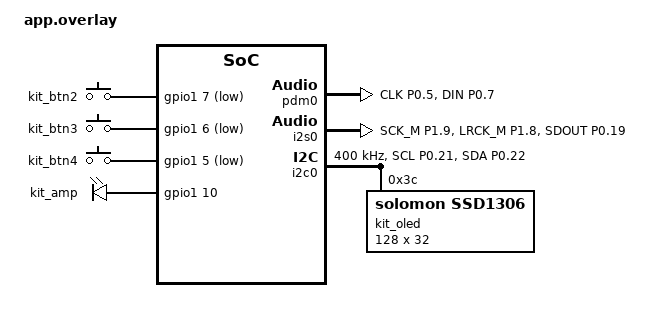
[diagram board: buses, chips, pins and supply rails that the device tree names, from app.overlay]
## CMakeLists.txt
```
# SPDX-License-Identifier: Apache-2.0
cmake_minimum_required(VERSION 3.20.0)
find_package(Zephyr REQUIRED HINTS $ENV{ZEPHYR_BASE})
project(military_wallaby_nu40)
target_include_directories(app PRIVATE ../../shared ../voice_common)
target_sources(app PRIVATE src/main.c src/font_0608.c src/voice.c src/ota.c src/alarm.c)
```

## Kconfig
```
# SPDX-License-Identifier: Apache-2.0
mainmenu "military-wallaby NU40 microphone and display"
config WALLABY_PAIRING_PASSKEY
    int "Locally provisioned BLE pairing passkey"
    range -1 999999
    default -1
    help
      Supply via build.py from a private six-digit file shared with NU87.
      The unset value fails compilation. Never commit a known passkey.
config WALLABY_PDM_RIGHT_CHANNEL
    bool "Use PDM right channel instead of vendor default left"
    default n
source "Kconfig.zephyr"
```

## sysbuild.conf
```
# SPDX-License-Identifier: Apache-2.0
SB_CONFIG_BOOTLOADER_MCUBOOT=y
SB_CONFIG_MCUBOOT_MODE_SWAP_USING_MOVE=y
SB_CONFIG_BOOT_SIGNATURE_TYPE_ECDSA_P256=y
```

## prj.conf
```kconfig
CONFIG_SERIAL=y
CONFIG_CONSOLE=y
CONFIG_UART_CONSOLE=y
CONFIG_UART_LINE_CTRL=y
CONFIG_USB_DEVICE_STACK_NEXT=y
CONFIG_CDC_ACM_SERIAL_INITIALIZE_AT_BOOT=y
CONFIG_CDC_ACM_SERIAL_PID=0x0004
CONFIG_CDC_ACM_SERIAL_PRODUCT_STRING="military-wallaby NU40 voice"
CONFIG_REBOOT=y
CONFIG_GPIO=y
CONFIG_I2C=y
CONFIG_I2S=y
CONFIG_DISPLAY=y
CONFIG_CHARACTER_FRAMEBUFFER=y
CONFIG_CHARACTER_FRAMEBUFFER_USE_DEFAULT_FONTS=n
CONFIG_BT=y
CONFIG_BT_PERIPHERAL=y
CONFIG_BT_DEVICE_NAME="NU40-KIT-DISPLAY"
CONFIG_BT_MAX_CONN=1
CONFIG_BT_MAX_PAIRED=1
CONFIG_BT_SMP=y
CONFIG_BT_APP_PASSKEY=y
CONFIG_BT_SETTINGS=y
CONFIG_SETTINGS=y
CONFIG_SETTINGS_NVS=y
CONFIG_NVS=y
CONFIG_BT_GATT_CLIENT=y
CONFIG_BT_L2CAP_TX_MTU=247
CONFIG_BT_BUF_ACL_RX_SIZE=251
CONFIG_BT_BUF_ACL_TX_SIZE=251
CONFIG_BT_CTLR_DATA_LENGTH_MAX=251
CONFIG_BT_ATT_TX_COUNT=8
CONFIG_AUDIO=y
CONFIG_AUDIO_DMIC=y
# OTA commands require authenticated encrypted BLE (MITM / Security Level 3).
CONFIG_BOOTLOADER_MCUBOOT=y
CONFIG_MCUBOOT_GENERATE_CONFIRMED_IMAGE=y
CONFIG_FLASH=y
CONFIG_FLASH_MAP=y
CONFIG_STREAM_FLASH=y
CONFIG_IMG_MANAGER=y
CONFIG_NET_BUF=y
CONFIG_ZCBOR=y
CONFIG_CRC=y
CONFIG_MCUMGR=y
CONFIG_MCUMGR_GRP_IMG=y
CONFIG_MCUMGR_GRP_OS=y
CONFIG_MCUMGR_TRANSPORT_BT=y
CONFIG_MCUMGR_TRANSPORT_BT_PERM_RW_AUTHEN=y
CONFIG_MCUMGR_TRANSPORT_BT_REASSEMBLY=y
CONFIG_MCUMGR_TRANSPORT_NETBUF_SIZE=1024
CONFIG_MCUMGR_TRANSPORT_WORKQUEUE_STACK_SIZE=4096
CONFIG_MCUMGR_MGMT_NOTIFICATION_HOOKS=y
CONFIG_MCUMGR_GRP_IMG_STATUS_HOOKS=y
CONFIG_MAIN_STACK_SIZE=4096
CONFIG_SYSTEM_WORKQUEUE_STACK_SIZE=2048
CONFIG_HEAP_MEM_POOL_SIZE=4096
CONFIG_LOG=y
CONFIG_LOG_DEFAULT_LEVEL=2
```

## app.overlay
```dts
/ {
	aliases { dmic0 = &pdm0; wallaby-alarm-button = &kit_btn4;
		wallaby-record-button = &kit_btn2; wallaby-send-button = &kit_btn3; };
	kit_buttons {
		compatible = "gpio-keys";
		/* Manufacturer BTN_PREV=39 (BTN2), BTN_NEXT=38 (BTN3). */
		kit_btn2: button2 { gpios = <&gpio1 7 (GPIO_ACTIVE_LOW | GPIO_PULL_UP)>; };
		kit_btn3: button3 { gpios = <&gpio1 6 (GPIO_ACTIVE_LOW | GPIO_PULL_UP)>; };
		kit_btn4: button4 { gpios = <&gpio1 5 (GPIO_ACTIVE_LOW | GPIO_PULL_UP)>; };
	};
	chosen { zephyr,display = &kit_oled; };
	kit_controls {
		compatible = "gpio-leds";
		kit_amp: amp { gpios = <&gpio1 10 GPIO_ACTIVE_HIGH>; };
	};
};

&uart0 { status = "disabled"; };
&uart1 { status = "disabled"; };
&i2c1 { status = "disabled"; };
&spi1 { status = "disabled"; };
&spi3 { status = "disabled"; };
/* Manufacturer PDM.setPins(7,5,-1): DIN P0.07, CLK P0.05. */
&pdm0 {
	status = "okay";
	pinctrl-0 = <&kit_pdm>;
	pinctrl-names = "default";
	clock-source = "PCLK32M_HFXO";
	queue-size = <8>;
};
&i2s0 {
	status = "okay";
	pinctrl-0 = <&kit_i2s>;
	pinctrl-names = "default";
	clock-source = "PCLK32M_HFXO";
};

&pinctrl {
	kit_i2s: kit_i2s {
		group1 {
			psels = <NRF_PSEL(I2S_SCK_M, 1, 9)>, <NRF_PSEL(I2S_LRCK_M, 1, 8)>,
				<NRF_PSEL(I2S_SDOUT, 0, 19)>;
		};
	};
	kit_pdm: kit_pdm {
		group1 { psels = <NRF_PSEL(PDM_CLK, 0, 5)>, <NRF_PSEL(PDM_DIN, 0, 7)>; };
	};
	kit_i2c: kit_i2c {
		group1 {
			psels = <NRF_PSEL(TWIM_SCL, 0, 21)>, <NRF_PSEL(TWIM_SDA, 0, 22)>;
		};
	};
};

&i2c0 {
	status = "okay";
	clock-frequency = <I2C_BITRATE_FAST>;
	pinctrl-0 = <&kit_i2c>;
	/delete-property/ pinctrl-1;
	pinctrl-names = "default";
	kit_oled: ssd1306@3c {
		compatible = "solomon,ssd1306";
		reg = <0x3c>;
		width = <128>;
		height = <32>;
		segment-offset = <0>;
		page-offset = <0>;
		display-offset = <0>;
		multiplex-ratio = <31>;
		segment-remap;
		com-invdir;
		com-sequential;
		prechargep = <0x22>;
	};
};
```

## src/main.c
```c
/* SPDX-License-Identifier: Apache-2.0 */
#include <errno.h>
#include <string.h>
#include <hal/nrf_power.h>
#include <zephyr/bluetooth/bluetooth.h>
#include <zephyr/bluetooth/conn.h>
#include <zephyr/bluetooth/gatt.h>
#include <zephyr/bluetooth/uuid.h>
#include <zephyr/device.h>
#include <zephyr/display/cfb.h>
#include <zephyr/drivers/gpio.h>
#include <zephyr/drivers/uart.h>
#include <zephyr/kernel.h>
#include <zephyr/sys/atomic.h>
#include <zephyr/sys/printk.h>
#include <zephyr/sys/reboot.h>
#include <zephyr/settings/settings.h>

#include "ble_display_protocol.h"
#include "voice.h"
#include "alarm.h"
#include "wallaby_graphics.h"
#include "display_policy.h"

BUILD_ASSERT(CONFIG_WALLABY_PAIRING_PASSKEY >= 0,
             "Use build.py and a private pairing code shared with NU87");
static void display_pairing(struct bt_conn *conn, unsigned int passkey)
{
	ARG_UNUSED(conn); ARG_UNUSED(passkey);
	printk("PAIR|request=1 code=locally_provisioned\n");
}
static void cancel_pairing(struct bt_conn *conn)
{
	ARG_UNUSED(conn); printk("PAIR|cancelled=1\n");
}
static uint32_t pairing_passkey(struct bt_conn *conn)
{
	ARG_UNUSED(conn);
	return CONFIG_WALLABY_PAIRING_PASSKEY;
}
static const struct bt_conn_auth_cb authentication = {
	.passkey_display = display_pairing, .cancel = cancel_pairing,
	.app_passkey = pairing_passkey,
};

static const struct device *const oled = DEVICE_DT_GET(DT_NODELABEL(kit_oled));
static const struct gpio_dt_spec amp = GPIO_DT_SPEC_GET(DT_NODELABEL(kit_amp), gpios);
static const struct bt_uuid_128 service_uuid = BT_UUID_INIT_128(BLE_DISPLAY_UUID_SERVICE_VAL);
static const struct bt_uuid_128 ack_uuid = BT_UUID_INIT_128(BLE_DISPLAY_UUID_ACK_VAL);
static const struct bt_uuid_128 control_uuid = BT_UUID_INIT_128(VOICE_UUID_CONTROL_VAL);
static const struct bt_uuid_128 audio_uuid = BT_UUID_INIT_128(VOICE_UUID_AUDIO_VAL);
static const struct bt_uuid_128 alarm_control_uuid = BT_UUID_INIT_128(ALARM_UUID_CONTROL_VAL);
static const struct bt_uuid_128 alarm_ack_uuid = BT_UUID_INIT_128(ALARM_UUID_ACK_VAL);
static const struct bt_uuid_128 text_uuid = BT_UUID_INIT_128(BLE_DISPLAY_UUID_TEXT_VAL);
static const struct bt_data advertising[] = {
	BT_DATA_BYTES(BT_DATA_FLAGS, BT_LE_AD_GENERAL | BT_LE_AD_NO_BREDR),
	BT_DATA_BYTES(BT_DATA_UUID128_ALL, BLE_DISPLAY_UUID_SERVICE_VAL),
};
static const struct bt_data scan_response[] = {
	BT_DATA(BT_DATA_NAME_COMPLETE, CONFIG_BT_DEVICE_NAME, sizeof(CONFIG_BT_DEVICE_NAME) - 1),
};

struct received_text {
	uint32_t session;
	uint16_t sequence;
	char text[BLE_DISPLAY_MAX_TEXT + 1];
};

K_MSGQ_DEFINE(messages, sizeof(struct received_text), 2, 4);
static struct k_spinlock link_lock;
static struct ble_display_rx receiver;
static struct bt_conn *peer;
static uint32_t session;
static atomic_t link_revision;
static bool oled_ready;
static uint32_t received_count, oled_writes, ack_count, error_count;
static struct wallaby_scene scene = {.view = 'F', .state = 'X'};
static struct wallaby_scene_motion scene_motion;
static bool scene_active;
static uint32_t scene_received_at;
static char display_text[BLE_DISPLAY_MAX_TEXT + 1];
static bool text_hold;
static bool scene_after_text;
static uint32_t text_received_at;
static enum voice_status displayed_voice = VOICE_OFF;
static uint32_t voice_received_at;

static int draw_scene(void)
{
	uint8_t pixels[WALLABY_PIXELS];
	char labels[4][WALLABY_LABEL_COLUMNS + 1];
	uint32_t now = k_uptime_get_32();
	int ret;
	struct wallaby_scene presented = scene_motion.initialized ?
		wallaby_motion_read(&scene_motion, now) : scene;

	if (!oled_ready) {
		return -ENODEV;
	}
	if (!wallaby_display_render(&presented,
				 (uint32_t)(now - scene_received_at) > WALLABY_SCENE_TIMEOUT_MS,
				 now, alarm_is_active(), displayed_voice,
				 now - voice_received_at, pixels, labels)) {
		return -E2BIG;
	}
	ret = cfb_framebuffer_clear(oled, false);
	for (int y = 0; y < 32 && ret == 0; y++) {
		for (int x = 0; x < 64 && ret == 0; x++) {
			if (pixels[(y / 8) * 128 + x] & (1U << (y % 8))) {
				struct cfb_position point = {.x = x, .y = y};

				ret = cfb_draw_point(oled, &point);
			}
		}
	}
	for (int row = 0; row < 4 && ret == 0; row++) {
		ret = cfb_print(oled, labels[row], 66, row * 8);
	}
	if (ret == 0) {
		ret = cfb_framebuffer_finalize(oled);
	}
	if (ret == 0) {
		oled_writes++;
	}
	return ret;
}

static bool ack_subscribed(struct bt_conn *conn);

static ssize_t receive_text(struct bt_conn *conn, const struct bt_gatt_attr *attr,
			    const void *buffer, uint16_t length, uint16_t offset, uint8_t flags)
{
	struct received_text message;
	enum ble_display_result result;
	int queued = 0;

	ARG_UNUSED(attr);
	if (offset != 0) {
		return BT_GATT_ERR(BT_ATT_ERR_INVALID_OFFSET);
	}
	if (flags & BT_GATT_WRITE_FLAG_PREPARE) {
		return BT_GATT_ERR(BT_ATT_ERR_NOT_SUPPORTED);
	}
	if (!ack_subscribed(conn)) {
		return BT_GATT_ERR(BT_ATT_ERR_CCC_IMPROPER_CONF);
	}
	k_spinlock_key_t key = k_spin_lock(&link_lock);
	result = ble_display_receive(&receiver, buffer, length, k_uptime_get_32());
	if (result == BLE_DISPLAY_COMPLETE) {
		message.session = session;
		message.sequence = receiver.sequence;
		memcpy(message.text, receiver.text, sizeof(message.text));
		queued = k_msgq_put(&messages, &message, K_NO_WAIT);
	}
	k_spin_unlock(&link_lock, key);
	if (result < 0 || queued != 0) {
		printk("LINK|RX rejected=%d queue_result=%d\n", result, queued);
		return BT_GATT_ERR(queued != 0 ? BT_ATT_ERR_INSUFFICIENT_RESOURCES :
				   BT_ATT_ERR_VALUE_NOT_ALLOWED);
	}
	return length;
}

static void subscription_changed(const struct bt_gatt_attr *attr, uint16_t value)
{
	ARG_UNUSED(attr);
	printk("LINK|ACK subscribed=%u\n", value == BT_GATT_CCC_NOTIFY);
}

BT_GATT_SERVICE_DEFINE(display_service,
	BT_GATT_PRIMARY_SERVICE(&service_uuid),
	BT_GATT_CHARACTERISTIC(&ack_uuid.uuid, BT_GATT_CHRC_NOTIFY,
			       BT_GATT_PERM_NONE, NULL, NULL, NULL),
	BT_GATT_CCC(subscription_changed, BT_GATT_PERM_READ | BT_GATT_PERM_WRITE),
	BT_GATT_CHARACTERISTIC(&text_uuid.uuid, BT_GATT_CHRC_WRITE,
			       BT_GATT_PERM_WRITE, NULL, receive_text, NULL),
	BT_GATT_CHARACTERISTIC(&control_uuid.uuid, BT_GATT_CHRC_WRITE,
			       BT_GATT_PERM_WRITE, NULL, voice_control, NULL),
	BT_GATT_CHARACTERISTIC(&audio_uuid.uuid, BT_GATT_CHRC_NOTIFY,
			       BT_GATT_PERM_NONE, NULL, NULL, NULL),
	BT_GATT_CCC(voice_subscription, BT_GATT_PERM_READ | BT_GATT_PERM_WRITE),
	BT_GATT_CHARACTERISTIC(&alarm_control_uuid.uuid, BT_GATT_CHRC_WRITE,
			       BT_GATT_PERM_WRITE, NULL, alarm_control, NULL),
	BT_GATT_CHARACTERISTIC(&alarm_ack_uuid.uuid, BT_GATT_CHRC_NOTIFY,
			       BT_GATT_PERM_NONE, NULL, NULL, NULL),
	BT_GATT_CCC(alarm_subscription, BT_GATT_PERM_READ | BT_GATT_PERM_WRITE)
);

static bool ack_subscribed(struct bt_conn *conn)
{
	return bt_gatt_is_subscribed(conn, &display_service.attrs[2], BT_GATT_CCC_NOTIFY);
}

static int draw_text_raw(const char *text)
{
	char lines[BLE_DISPLAY_ROWS][BLE_DISPLAY_COLUMNS + 1];
	int ret;

	if (!wallaby_display_text(text, displayed_voice,
				 k_uptime_get_32() - voice_received_at, lines)) {
		return -E2BIG;
	}
	if (!oled_ready) {
		return -ENODEV;
	}
	ret = cfb_framebuffer_clear(oled, false);
	for (size_t i = 0; i < BLE_DISPLAY_ROWS && ret == 0; i++) {
		ret = cfb_print(oled, lines[i], 0, i * 8);
	}
	if (ret == 0) {
		ret = cfb_framebuffer_finalize(oled);
	}
	if (ret == 0) {
		oled_writes++;
	}
	return ret;
}

static int draw_display(void)
{
	uint32_t now = k_uptime_get_32();
	bool holding = wallaby_text_holding(text_hold, text_received_at, now);

	if (!holding) text_hold = false;
	if (wallaby_display_uses_scene(scene_active, &scene, alarm_is_active(), holding, scene_after_text)) {
		return draw_scene();
	}
	return draw_text_raw(display_text);
}

static int show_text(const char *text, bool hold)
{
	char lines[BLE_DISPLAY_ROWS][BLE_DISPLAY_COLUMNS + 1];

	if (!ble_display_split_lines(text, strlen(text), lines)) return -E2BIG;
	strncpy(display_text, text, sizeof(display_text) - 1);
	display_text[sizeof(display_text) - 1] = '\0';
	text_hold = hold;
	if (hold) scene_after_text = false;
	text_received_at = k_uptime_get_32();
	return draw_display();
}

static void connected(struct bt_conn *conn, uint8_t error)
{
	printk("LINK|BLE connected=%u hci_error=%u\n", error == 0, error);
	if (error != 0) {
		return;
	}
	k_spinlock_key_t key = k_spin_lock(&link_lock);
	peer = bt_conn_ref(conn);
	session++;
	ble_display_rx_reset(&receiver);
	k_spin_unlock(&link_lock, key);
	atomic_inc(&link_revision);
	voice_connected(conn);
	alarm_connected(conn);
}

static void restart_advertising(struct k_work *work);
K_WORK_DEFINE(advertising_work, restart_advertising);

static void disconnected(struct bt_conn *conn, uint8_t reason)
{
	printk("LINK|BLE disconnected=1 reason=%u\n", reason);
	k_spinlock_key_t key = k_spin_lock(&link_lock);
	if (peer == conn) {
		bt_conn_unref(peer);
		peer = NULL;
	}
	session++;
	ble_display_rx_reset(&receiver);
	k_spin_unlock(&link_lock, key);
	atomic_inc(&link_revision);
	voice_disconnected(conn);
	alarm_disconnected(conn);
}

static void recycled(void)
{
	k_work_submit(&advertising_work);
}

BT_CONN_CB_DEFINE(connection_callbacks) = {
	.connected = connected,
	.disconnected = disconnected,
	.recycled = recycled,
};

static void restart_advertising(struct k_work *work)
{
	int ret;

	ARG_UNUSED(work);
	ret = bt_le_adv_start(BT_LE_ADV_CONN_FAST_1, advertising, ARRAY_SIZE(advertising),
			      scan_response, ARRAY_SIZE(scan_response));
	printk("LINK|BLE advertising_result=%d name=%s\n", ret, CONFIG_BT_DEVICE_NAME);
}

static void process_message(const struct received_text *message)
{
	struct bt_conn *conn = NULL;
	uint8_t ack[BLE_DISPLAY_ACK_SIZE];
	uint8_t status;
	int rendered, notified;

	k_spinlock_key_t key = k_spin_lock(&link_lock);
	if (peer != NULL && message->session == session) {
		conn = bt_conn_ref(peer);
	}
	k_spin_unlock(&link_lock, key);
	if (conn == NULL) {
		return;
	}
	struct wallaby_scene next;
	int parsed = wallaby_scene_parse(message->text, &next);

	if (parsed < 0) {
		rendered = -E2BIG;
	} else if (parsed == 1) {
		/* Repeating an old sample must not make a dead sensor look live. */
		if (!scene_active || next.sample != scene.sample) {
			scene_received_at = k_uptime_get_32();
		}
		scene = next;
		wallaby_motion_target(&scene_motion, &next, k_uptime_get_32());
		scene_active = true;
		scene_after_text = true;
		rendered = draw_display();
	} else {
		/* Keep receiving measurements underneath the readable answer. The
		 * host may also intentionally pause WG1 updates during this hold. */
		rendered = show_text(message->text, true);
	}
	status = rendered == 0 ? BLE_DISPLAY_OK :
		 rendered == -E2BIG ? BLE_DISPLAY_BAD_TEXT : BLE_DISPLAY_OLED_ERROR;
	ble_display_build_ack(message->sequence, status, ack);
	notified = bt_gatt_notify(conn, &display_service.attrs[2], ack, sizeof(ack));
	bt_conn_unref(conn);
	received_count++;
	if (rendered == 0 && notified == 0) {
		ack_count++;
	} else {
		error_count++;
	}
	/* oled_result confirms the driver transfer; visible text needs observation. */
	printk("LINK|RX seq=%u bytes=%u oled_result=%d ack_result=%d visible=unverified\n",
	       message->sequence, (unsigned int)strlen(message->text), rendered, notified);
}

static void report_status(void)
{
	bool connected_now;

	k_spinlock_key_t key = k_spin_lock(&link_lock);
	connected_now = peer != NULL;
	k_spin_unlock(&link_lock, key);
	printk("LINK|STATUS role=display connected=%u oled_ready=%u rx=%u oled_writes=%u "
	       "ack_queued=%u errors=%u\n", connected_now, oled_ready, received_count,
	       oled_writes, ack_count, error_count);
}

static void enter_bootloader(void)
{
	printk("LINK|CMD uf2 accepted=1\n");
	k_msleep(50);
	nrf_power_gpregret_set(NRF_POWER, 0U, 0x57U);
	sys_reboot(SYS_REBOOT_COLD);
}

static void poll_console(const struct device *console)
{
	static char command[16];
	static size_t used;
	static bool overflow;
	uint32_t baudrate;
	unsigned char c;

	if (uart_line_ctrl_get(console, UART_LINE_CTRL_BAUD_RATE, &baudrate) == 0 &&
	    baudrate == 1200) {
		enter_bootloader();
	}
	for (int i = 0; i < 64 && uart_poll_in(console, &c) == 0; i++) {
		if (c == '\r' || c == '\n') {
			command[used] = '\0';
			if (!overflow && strcmp(command, "uf2") == 0) {
				enter_bootloader();
			} else if (!overflow && strcmp(command, "status") == 0) {
				report_status();
			} else if (used || overflow) {
				printk("LINK|CMD supported=status,uf2\n");
			}
			used = 0;
			overflow = false;
		} else if (used < sizeof(command) - 1) {
			command[used++] = c;
		} else {
			overflow = true;
		}
	}
}

int main(void)
{
	const struct device *console = DEVICE_DT_GET(DT_CHOSEN(zephyr_console));
	struct received_text message;
	atomic_val_t seen_revision = -1;
	int64_t report_at = 0, scene_at = 0;
	uint32_t voice_revision = 0;
	bool previous_alarm = false;
	int ret;

	(void)gpio_pin_configure_dt(&amp, GPIO_OUTPUT_INACTIVE);
	ret = device_is_ready(oled) ? cfb_framebuffer_init(oled) : -ENODEV;
	if (ret == 0) {
		ret = cfb_framebuffer_set_font(oled, 0);
	}
	if (ret == 0) {
		ret = display_blanking_off(oled);
	}
	oled_ready = ret == 0;
	printk("LINK|BOOT role=military-wallaby firmware=3 oled_init=%d "
	       "protocol=1 audio=1 graphics=WG1\n", ret);
	voice_init(&display_service.attrs[9]);
	alarm_init(&display_service.attrs[14]);
	(void)show_text("MILITARY WALLABY\nNU40 PDM + OLED\nWaiting for NU87", false);
	ret = bt_conn_auth_cb_register(&authentication);
	if (ret == 0) { ret = bt_enable(NULL); }
	if (ret == 0) { ret = settings_load(); }
	printk("LINK|BLE enable_result=%d\n", ret);
	if (ret == 0) {
		k_work_submit(&advertising_work);
	} else {
		(void)show_text("BLE INIT ERROR\nCheck USB log", false);
	}
	while (true) {
		atomic_val_t revision = atomic_get(&link_revision);

		if (revision != seen_revision) {
			bool connected_now;

			scene_active = false;
			scene_motion.initialized = false;
			text_hold = false;

			k_spinlock_key_t key = k_spin_lock(&link_lock);
			connected_now = peer != NULL;
			k_spin_unlock(&link_lock, key);
			if (ret == 0) {
				(void)show_text(connected_now ?
					"BLE CONNECTED\nWaiting for NU87 data" :
					"WAITING FOR NU87\nBLE disconnected\nNo current data", false);
			}
			seen_revision = revision;
		}
		if (k_msgq_get(&messages, &message, K_MSEC(20)) == 0) {
			process_message(&message);
		}
		char voice_text[85];
		if (voice_display_status(&voice_revision, &displayed_voice, voice_text, sizeof(voice_text))) {
			voice_received_at = k_uptime_get_32();
			if (!scene_active && !text_hold) {
				(void)show_text(voice_text, false);
			} else {
				(void)draw_display();
			}
		}
		poll_console(console);
		bool alarm_now = alarm_is_active();
		if ((scene_active || alarm_now || previous_alarm != alarm_now || text_hold) &&
		    k_uptime_get() >= scene_at) {
			if (draw_display() != 0) {
				error_count++;
			}
			previous_alarm = alarm_now;
			scene_at = k_uptime_get() + 60;
		}
		if (k_uptime_get() >= report_at) {
			report_status();
			report_at = k_uptime_get() + 2000;
		}
	}
	return 0;
}
```

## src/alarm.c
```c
/* SPDX-License-Identifier: Apache-2.0 */
/* BTN4 simulates a detection event. It does not measure or identify explosives. */
#include <errno.h>
#include <zephyr/device.h>
#include <zephyr/drivers/gpio.h>
#include <zephyr/drivers/i2s.h>
#include <zephyr/kernel.h>
#include <zephyr/sys/printk.h>
#include <zephyr/sys/atomic.h>
#include "alarm.h"
#include "voice.h"
#include "alarm_button.h"

#define TONE_SAMPLES 320U
#define TONE_BYTES (TONE_SAMPLES * 2U * sizeof(int16_t))
#define TONE_FRAMES 500U /* 10 seconds, latch remains until clear. */
static const struct device *const speaker = DEVICE_DT_GET(DT_NODELABEL(i2s0));
static const struct gpio_dt_spec amplifier = GPIO_DT_SPEC_GET(DT_NODELABEL(kit_amp),gpios);
static const struct gpio_dt_spec button = GPIO_DT_SPEC_GET(DT_ALIAS(wallaby_alarm_button),gpios);
K_MEM_SLAB_DEFINE_STATIC(tone_slab,TONE_BYTES,4,4);
K_SEM_DEFINE(alarm_ready,0,1);

static struct k_spinlock link_lock;
static struct {
 struct bt_conn *peer;
 const struct bt_gatt_attr *ack_attr;
 uint32_t disconnects;
 bool subscribed,resend;
} link;
struct alarm_request { struct bt_conn *conn; uint32_t sequence; bool on; };
struct alarm_ack { struct bt_conn *conn; uint8_t bytes[8]; };
K_MSGQ_DEFINE(requests,sizeof(struct alarm_request),2,4);
K_MSGQ_DEFINE(acks,sizeof(struct alarm_ack),4,4);
static bool latched,tone_running;
static atomic_t visible_alarm;

bool alarm_is_active(void)
{
 return atomic_get(&visible_alarm) != 0;
}
static uint8_t last_source,last_status;
static uint32_t last_sequence;
static uint32_t tone_frame;

static void send_acks(struct k_work *work)
{
 struct alarm_ack ack;
 ARG_UNUSED(work);
 while(k_msgq_get(&acks,&ack,K_NO_WAIT)==0){
  int ret=bt_gatt_notify(ack.conn,link.ack_attr,ack.bytes,sizeof(ack.bytes));
  bt_conn_unref(ack.conn);
  if(ret)printk("ALARM|notify_error=%d\n",ret);
 }
}
K_WORK_DEFINE(ack_work,send_acks);

static void acknowledge(uint32_t sequence,uint8_t source,uint8_t status)
{
 struct alarm_ack ack={.bytes={1,latched,0,0,0,0,status,source}};
 k_spinlock_key_t key=k_spin_lock(&link_lock);
 ack.conn=link.peer&&link.subscribed?bt_conn_ref(link.peer):NULL;
 k_spin_unlock(&link_lock,key);
 if(!ack.conn)return;
 voice_put32(ack.bytes+2,sequence);
 if(k_msgq_put(&acks,&ack,K_NO_WAIT)!=0){bt_conn_unref(ack.conn);return;}
 k_work_submit(&ack_work);
}

static int tone_block(void)
{
 static const int16_t sine[16]={0,574,1061,1386,1500,1386,1061,574,0,-574,-1061,-1386,-1500,-1386,-1061,-574};
 void *memory=NULL;
 int ret=k_mem_slab_alloc(&tone_slab,&memory,K_MSEC(30));
 if(ret)return ret;
 int16_t *pcm=memory;
 bool beep=(tone_frame%20)<10; /* 200 ms on / 200 ms off. */
 for(size_t i=0;i<TONE_SAMPLES;i++)pcm[i*2]=pcm[i*2+1]=beep?sine[i%16]:0;
 ret=i2s_write(speaker,memory,TONE_BYTES);
 if(ret)k_mem_slab_free(&tone_slab,memory);
 else tone_frame++;
 return ret;
}

static void silence(void)
{
 /* Shut the amplifier first, including driver-error and disconnect paths. */
 (void)gpio_pin_set_dt(&amplifier,0);
 if(tone_running)(void)i2s_trigger(speaker,I2S_DIR_TX,I2S_TRIGGER_DROP);
 tone_running=false;
}

static int begin_tone(void)
{
 struct i2s_config config={.word_size=16,.channels=2,.format=I2S_FMT_DATA_FORMAT_I2S,
  .options=I2S_OPT_BIT_CLK_CONTROLLER|I2S_OPT_FRAME_CLK_CONTROLLER,.frame_clk_freq=16000,
  .mem_slab=&tone_slab,.block_size=TONE_BYTES,.timeout=30};
 if(!device_is_ready(speaker)||!gpio_is_ready_dt(&amplifier))return -ENODEV;
 silence();
 int ret=i2s_configure(speaker,I2S_DIR_TX,&config);
 tone_frame=0;
 if(!ret)ret=tone_block();
 if(!ret)ret=tone_block();
 if(!ret)ret=i2s_trigger(speaker,I2S_DIR_TX,I2S_TRIGGER_START);
 if(!ret){tone_running=true;ret=gpio_pin_set_dt(&amplifier,1);}
 if(ret){(void)i2s_trigger(speaker,I2S_DIR_TX,I2S_TRIGGER_DROP);silence();}
 return ret;
}

static void apply_alarm(bool on,uint32_t sequence,uint8_t source)
{
 int ret=0;
 latched=on;last_source=source;last_sequence=sequence;
 atomic_set(&visible_alarm,on);
 if(on){voice_alarm_pause(true);ret=begin_tone();}
 else{silence();voice_alarm_pause(false);}
 last_status=ret?2:0;
 acknowledge(sequence,source,last_status);
 printk("ALARM|active=%u source=%u output_result=%d simulated=1\n",latched,source,ret);
}

void alarm_init(const struct bt_gatt_attr *ack_attr)
{
 link.ack_attr=ack_attr;
 k_sem_give(&alarm_ready);
}

void alarm_connected(struct bt_conn *conn)
{
	/* Restore the effective CCC state even if its callback ran before this
	 * connected callback. Rewriting the same CCC value may not call it again. */
	bool subscribed = bt_gatt_is_subscribed(conn, link.ack_attr, BT_GATT_CCC_NOTIFY);
	k_spinlock_key_t key = k_spin_lock(&link_lock);

	link.peer = bt_conn_ref(conn);
	link.subscribed = subscribed;
	link.resend = subscribed;
	k_spin_unlock(&link_lock, key);
}

void alarm_disconnected(struct bt_conn *conn)
{
 struct bt_conn *release=NULL;
 k_spinlock_key_t key=k_spin_lock(&link_lock);
 if(link.peer==conn){release=link.peer;link.peer=NULL;link.subscribed=false;link.disconnects++;}
 k_spin_unlock(&link_lock,key);
 if(release)bt_conn_unref(release);
}

void alarm_subscription(const struct bt_gatt_attr *attr,uint16_t value)
{
 ARG_UNUSED(attr);
 k_spinlock_key_t key=k_spin_lock(&link_lock);
 link.subscribed=value==BT_GATT_CCC_NOTIFY;
 link.resend=link.subscribed;
 k_spin_unlock(&link_lock,key);
}

ssize_t alarm_control(struct bt_conn *conn,const struct bt_gatt_attr *attr,const void *data,uint16_t length,uint16_t offset,uint8_t flags)
{
 struct alarm_request request;
 ARG_UNUSED(attr);
 if(offset)return BT_GATT_ERR(BT_ATT_ERR_INVALID_OFFSET);
 if(flags&(BT_GATT_WRITE_FLAG_PREPARE|BT_GATT_WRITE_FLAG_CMD))return BT_GATT_ERR(BT_ATT_ERR_NOT_SUPPORTED);
 if(!voice_parse_control(data,length,&request.on,&request.sequence))return BT_GATT_ERR(BT_ATT_ERR_VALUE_NOT_ALLOWED);
 if(!bt_gatt_is_subscribed(conn,link.ack_attr,BT_GATT_CCC_NOTIFY))return BT_GATT_ERR(BT_ATT_ERR_CCC_IMPROPER_CONF);
 request.conn=bt_conn_ref(conn);
 if(k_msgq_put(&requests,&request,K_NO_WAIT)!=0){bt_conn_unref(request.conn);return BT_GATT_ERR(BT_ATT_ERR_INSUFFICIENT_RESOURCES);}
 return length;
}

static void alarm_thread(void *a,void *b,void *c)
{
 ARG_UNUSED(a);ARG_UNUSED(b);ARG_UNUSED(c);
 k_sem_take(&alarm_ready,K_FOREVER);
 int button_result=gpio_is_ready_dt(&button)?gpio_pin_configure_dt(&button,GPIO_INPUT):-ENODEV;
 struct alarm_button_state button_state={0};
 uint32_t disconnects=0;
 printk("ALARM|BTN4=P1.05 init=%d source=simulation\n",button_result);
 while(true){
  struct alarm_request request;
  if(k_msgq_get(&requests,&request,tone_running?K_NO_WAIT:K_MSEC(10))==0){
   k_spinlock_key_t key=k_spin_lock(&link_lock);
   bool current=link.peer==request.conn;
   k_spin_unlock(&link_lock,key);
   if(current)apply_alarm(request.on,request.sequence,0);
   bt_conn_unref(request.conn);
  }
  if(button_result==0){
   int reading=gpio_pin_get_dt(&button);
   if(reading>=0){
    if(alarm_button_press(&button_state,reading!=0,k_uptime_get_32())&&!latched)
     apply_alarm(true,0,1);
   }
  }
  k_spinlock_key_t key=k_spin_lock(&link_lock);
  uint32_t current_disconnects=link.disconnects;
  bool resend=link.resend;link.resend=false;
  k_spin_unlock(&link_lock,key);
  if(current_disconnects!=disconnects){silence();disconnects=current_disconnects;}
  if(resend&&latched)acknowledge(last_sequence,last_source,last_status);
  if(tone_running){
   int ret=tone_frame<TONE_FRAMES?tone_block():0;
   if(ret||tone_frame>=TONE_FRAMES){
    silence();
    if(ret){last_status=2;acknowledge(last_sequence,last_source,last_status);}
    /* Keep the latch and microphone gate after the finite warning pattern. */
   }
  }
 }
}
K_THREAD_DEFINE(alarm_worker,2048,alarm_thread,NULL,NULL,NULL,5,0,0);
```

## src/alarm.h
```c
/* SPDX-License-Identifier: Apache-2.0 */
#ifndef WALLABY_ALARM_H
#define WALLABY_ALARM_H
#include <zephyr/bluetooth/gatt.h>
#define ALARM_UUID_CONTROL_VAL BT_UUID_128_ENCODE(0x90e2c005,0x3c0d,0x4ef3,0x9d78,0x574cd1a64087)
#define ALARM_UUID_ACK_VAL BT_UUID_128_ENCODE(0x90e2c006,0x3c0d,0x4ef3,0x9d78,0x574cd1a64087)
void alarm_init(const struct bt_gatt_attr *ack_attr);
bool alarm_is_active(void);
void alarm_connected(struct bt_conn *conn);
void alarm_disconnected(struct bt_conn *conn);
void alarm_subscription(const struct bt_gatt_attr *attr,uint16_t value);
ssize_t alarm_control(struct bt_conn *conn,const struct bt_gatt_attr *attr,
 const void *data,uint16_t length,uint16_t offset,uint8_t flags);
#endif
```

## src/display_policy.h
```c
/* SPDX-License-Identifier: Apache-2.0 */
#ifndef WALLABY_DISPLAY_POLICY_H
#define WALLABY_DISPLAY_POLICY_H
#include "wallaby_graphics.h"
#include "voice_status.h"
#include "ble_display_protocol.h"

#define WALLABY_TEXT_HOLD_MS 8000U
#define WALLABY_VOICE_SENT_MS 3000U
#define WALLABY_VOICE_ERROR_MS 8000U

static inline bool wallaby_text_holding(bool requested, uint32_t received_at, uint32_t now)
{
	return requested && (uint32_t)(now - received_at) < WALLABY_TEXT_HOLD_MS;
}

static inline bool wallaby_scene_priority(const struct wallaby_scene *scene, bool expired)
{
	return expired || scene->state == 'X' || scene->state == 'U' ||
	       scene->state == 'A' || scene->state == 'B';
}

/* The host intentionally pauses ordinary WG1 sends during its 8-second answer
 * hold. Ageing the previous sample must not erase that answer after 3 seconds.
 * Explicit warning/stale scenes and the local alarm still take priority. */
static inline bool wallaby_display_uses_scene(bool have_scene, const struct wallaby_scene *scene,
					    bool local_alarm, bool text_hold, bool scene_after_text)
{
	return local_alarm || (have_scene && (!text_hold ||
		(scene_after_text && wallaby_scene_priority(scene, false))));
}

static inline const char *wallaby_voice_label(enum voice_status status, uint32_t age)
{
	switch (status) {
	case VOICE_ARMED: return "MIC READY";
	case VOICE_RECORDING: return "MIC REC";
	case VOICE_READY: return "BTN3 SEND";
	case VOICE_SENDING: return "MIC SEND";
	case VOICE_SENT: return age < WALLABY_VOICE_SENT_MS ? "MIC SENT" : NULL;
	case VOICE_ERROR: return age < WALLABY_VOICE_ERROR_MS ? "MIC ERROR" : NULL;
	default: return NULL;
	}
}

static inline bool wallaby_display_text(const char *text, enum voice_status voice,
				       uint32_t voice_age,
				       char lines[BLE_DISPLAY_ROWS][BLE_DISPLAY_COLUMNS + 1])
{
	if (!text || !ble_display_split_lines(text, strlen(text), lines)) return false;
	const char *label = wallaby_voice_label(voice, voice_age);
	/* The regular IMU text uses three rows. Keep all supplied payload rows,
	 * including a fourth row in longer answers, and use only spare space. */
	if (label && lines[BLE_DISPLAY_ROWS - 1][0] == '\0') {
		snprintf(lines[BLE_DISPLAY_ROWS - 1], BLE_DISPLAY_COLUMNS + 1, "%s", label);
	}
	return true;
}

static inline bool wallaby_display_render(const struct wallaby_scene *scene, bool expired,
					 uint32_t now, bool local_alarm, enum voice_status voice,
					 uint32_t voice_age, uint8_t pixels[WALLABY_PIXELS],
					 char labels[4][WALLABY_LABEL_COLUMNS + 1])
{
	if (!scene) return false;
	struct wallaby_scene effective = *scene;
	if (local_alarm) effective.state = 'B';
	if (!wallaby_scene_render(&effective, expired, now, pixels, labels)) return false;
	const char *label = wallaby_voice_label(voice, voice_age);
	if (label && !wallaby_scene_priority(&effective, expired)) {
		/* Preserve the measured face/horizon, warning title and R/P/T values.
		 * Only the sample-number row is temporarily used for microphone state. */
		snprintf(labels[3], WALLABY_LABEL_COLUMNS + 1, "%s", label);
	}
	return true;
}
#endif
```

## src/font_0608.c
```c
/* SPDX-License-Identifier: BSD-2-Clause */
/* ASCII subset of Adafruit_GFX glcdfont.c with a blank spacing column.
 * Source: https://github.com/adafruit/Adafruit-GFX-Library/blob/master/glcdfont.c
 * Source SHA-256: bd6d60ecb9cc350a83f209d7c62de2fe5f6ce3402d5598cde2988b5b44e83e02
 *
 * Software License Agreement (BSD License)
 *
 * Copyright (c) 2012 Adafruit Industries.  All rights reserved.
 *
 * Redistribution and use in source and binary forms, with or without
 * modification, are permitted provided that the following conditions are met:
 *
 * - Redistributions of source code must retain the above copyright notice,
 *   this list of conditions and the following disclaimer.
 * - Redistributions in binary form must reproduce the above copyright notice,
 *   this list of conditions and the following disclaimer in the documentation
 *   and/or other materials provided with the distribution.
 *
 * THIS SOFTWARE IS PROVIDED BY THE COPYRIGHT HOLDERS AND CONTRIBUTORS "AS IS"
 * AND ANY EXPRESS OR IMPLIED WARRANTIES, INCLUDING, BUT NOT LIMITED TO, THE
 * IMPLIED WARRANTIES OF MERCHANTABILITY AND FITNESS FOR A PARTICULAR PURPOSE
 * ARE DISCLAIMED. IN NO EVENT SHALL THE COPYRIGHT HOLDER OR CONTRIBUTORS BE
 * LIABLE FOR ANY DIRECT, INDIRECT, INCIDENTAL, SPECIAL, EXEMPLARY, OR
 * CONSEQUENTIAL DAMAGES (INCLUDING, BUT NOT LIMITED TO, PROCUREMENT OF
 * SUBSTITUTE GOODS OR SERVICES; LOSS OF USE, DATA, OR PROFITS; OR BUSINESS
 * INTERRUPTION) HOWEVER CAUSED AND ON ANY THEORY OF LIABILITY, WHETHER IN
 * CONTRACT, STRICT LIABILITY, OR TORT (INCLUDING NEGLIGENCE OR OTHERWISE)
 * ARISING IN ANY WAY OUT OF THE USE OF THIS SOFTWARE, EVEN IF ADVISED OF THE
 * POSSIBILITY OF SUCH DAMAGE.
 */
#include <zephyr/kernel.h>
#include <zephyr/display/cfb.h>

static const uint8_t font_0608[95][6] = {
	{0x00, 0x00, 0x00, 0x00, 0x00, 0x00},
	{0x00, 0x00, 0x5f, 0x00, 0x00, 0x00},
	{0x00, 0x07, 0x00, 0x07, 0x00, 0x00},
	{0x14, 0x7f, 0x14, 0x7f, 0x14, 0x00},
	{0x24, 0x2a, 0x7f, 0x2a, 0x12, 0x00},
	{0x23, 0x13, 0x08, 0x64, 0x62, 0x00},
	{0x36, 0x49, 0x56, 0x20, 0x50, 0x00},
	{0x00, 0x08, 0x07, 0x03, 0x00, 0x00},
	{0x00, 0x1c, 0x22, 0x41, 0x00, 0x00},
	{0x00, 0x41, 0x22, 0x1c, 0x00, 0x00},
	{0x2a, 0x1c, 0x7f, 0x1c, 0x2a, 0x00},
	{0x08, 0x08, 0x3e, 0x08, 0x08, 0x00},
	{0x00, 0x80, 0x70, 0x30, 0x00, 0x00},
	{0x08, 0x08, 0x08, 0x08, 0x08, 0x00},
	{0x00, 0x00, 0x60, 0x60, 0x00, 0x00},
	{0x20, 0x10, 0x08, 0x04, 0x02, 0x00},
	{0x3e, 0x51, 0x49, 0x45, 0x3e, 0x00},
	{0x00, 0x42, 0x7f, 0x40, 0x00, 0x00},
	{0x72, 0x49, 0x49, 0x49, 0x46, 0x00},
	{0x21, 0x41, 0x49, 0x4d, 0x33, 0x00},
	{0x18, 0x14, 0x12, 0x7f, 0x10, 0x00},
	{0x27, 0x45, 0x45, 0x45, 0x39, 0x00},
	{0x3c, 0x4a, 0x49, 0x49, 0x31, 0x00},
	{0x41, 0x21, 0x11, 0x09, 0x07, 0x00},
	{0x36, 0x49, 0x49, 0x49, 0x36, 0x00},
	{0x46, 0x49, 0x49, 0x29, 0x1e, 0x00},
	{0x00, 0x00, 0x14, 0x00, 0x00, 0x00},
	{0x00, 0x40, 0x34, 0x00, 0x00, 0x00},
	{0x00, 0x08, 0x14, 0x22, 0x41, 0x00},
	{0x14, 0x14, 0x14, 0x14, 0x14, 0x00},
	{0x00, 0x41, 0x22, 0x14, 0x08, 0x00},
	{0x02, 0x01, 0x59, 0x09, 0x06, 0x00},
	{0x3e, 0x41, 0x5d, 0x59, 0x4e, 0x00},
	{0x7c, 0x12, 0x11, 0x12, 0x7c, 0x00},
	{0x7f, 0x49, 0x49, 0x49, 0x36, 0x00},
	{0x3e, 0x41, 0x41, 0x41, 0x22, 0x00},
	{0x7f, 0x41, 0x41, 0x41, 0x3e, 0x00},
	{0x7f, 0x49, 0x49, 0x49, 0x41, 0x00},
	{0x7f, 0x09, 0x09, 0x09, 0x01, 0x00},
	{0x3e, 0x41, 0x41, 0x51, 0x73, 0x00},
	{0x7f, 0x08, 0x08, 0x08, 0x7f, 0x00},
	{0x00, 0x41, 0x7f, 0x41, 0x00, 0x00},
	{0x20, 0x40, 0x41, 0x3f, 0x01, 0x00},
	{0x7f, 0x08, 0x14, 0x22, 0x41, 0x00},
	{0x7f, 0x40, 0x40, 0x40, 0x40, 0x00},
	{0x7f, 0x02, 0x1c, 0x02, 0x7f, 0x00},
	{0x7f, 0x04, 0x08, 0x10, 0x7f, 0x00},
	{0x3e, 0x41, 0x41, 0x41, 0x3e, 0x00},
	{0x7f, 0x09, 0x09, 0x09, 0x06, 0x00},
	{0x3e, 0x41, 0x51, 0x21, 0x5e, 0x00},
	{0x7f, 0x09, 0x19, 0x29, 0x46, 0x00},
	{0x26, 0x49, 0x49, 0x49, 0x32, 0x00},
	{0x03, 0x01, 0x7f, 0x01, 0x03, 0x00},
	{0x3f, 0x40, 0x40, 0x40, 0x3f, 0x00},
	{0x1f, 0x20, 0x40, 0x20, 0x1f, 0x00},
	{0x3f, 0x40, 0x38, 0x40, 0x3f, 0x00},
	{0x63, 0x14, 0x08, 0x14, 0x63, 0x00},
	{0x03, 0x04, 0x78, 0x04, 0x03, 0x00},
	{0x61, 0x59, 0x49, 0x4d, 0x43, 0x00},
	{0x00, 0x7f, 0x41, 0x41, 0x41, 0x00},
	{0x02, 0x04, 0x08, 0x10, 0x20, 0x00},
	{0x00, 0x41, 0x41, 0x41, 0x7f, 0x00},
	{0x04, 0x02, 0x01, 0x02, 0x04, 0x00},
	{0x40, 0x40, 0x40, 0x40, 0x40, 0x00},
	{0x00, 0x03, 0x07, 0x08, 0x00, 0x00},
	{0x20, 0x54, 0x54, 0x78, 0x40, 0x00},
	{0x7f, 0x28, 0x44, 0x44, 0x38, 0x00},
	{0x38, 0x44, 0x44, 0x44, 0x28, 0x00},
	{0x38, 0x44, 0x44, 0x28, 0x7f, 0x00},
	{0x38, 0x54, 0x54, 0x54, 0x18, 0x00},
	{0x00, 0x08, 0x7e, 0x09, 0x02, 0x00},
	{0x18, 0xa4, 0xa4, 0x9c, 0x78, 0x00},
	{0x7f, 0x08, 0x04, 0x04, 0x78, 0x00},
	{0x00, 0x44, 0x7d, 0x40, 0x00, 0x00},
	{0x20, 0x40, 0x40, 0x3d, 0x00, 0x00},
	{0x7f, 0x10, 0x28, 0x44, 0x00, 0x00},
	{0x00, 0x41, 0x7f, 0x40, 0x00, 0x00},
	{0x7c, 0x04, 0x78, 0x04, 0x78, 0x00},
	{0x7c, 0x08, 0x04, 0x04, 0x78, 0x00},
	{0x38, 0x44, 0x44, 0x44, 0x38, 0x00},
	{0xfc, 0x18, 0x24, 0x24, 0x18, 0x00},
	{0x18, 0x24, 0x24, 0x18, 0xfc, 0x00},
	{0x7c, 0x08, 0x04, 0x04, 0x08, 0x00},
	{0x48, 0x54, 0x54, 0x54, 0x24, 0x00},
	{0x04, 0x04, 0x3f, 0x44, 0x24, 0x00},
	{0x3c, 0x40, 0x40, 0x20, 0x7c, 0x00},
	{0x1c, 0x20, 0x40, 0x20, 0x1c, 0x00},
	{0x3c, 0x40, 0x30, 0x40, 0x3c, 0x00},
	{0x44, 0x28, 0x10, 0x28, 0x44, 0x00},
	{0x4c, 0x90, 0x90, 0x90, 0x7c, 0x00},
	{0x44, 0x64, 0x54, 0x4c, 0x44, 0x00},
	{0x00, 0x08, 0x36, 0x41, 0x00, 0x00},
	{0x00, 0x00, 0x77, 0x00, 0x00, 0x00},
	{0x00, 0x41, 0x36, 0x08, 0x00, 0x00},
	{0x02, 0x01, 0x02, 0x04, 0x02, 0x00},
};

FONT_ENTRY_DEFINE(font0608, 6, 8, CFB_FONT_MONO_VPACKED, font_0608, 32, 126);
```

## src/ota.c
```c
/* SPDX-License-Identifier: Apache-2.0 */
#include <zephyr/init.h>
#include <zephyr/mgmt/mcumgr/mgmt/callbacks.h>
#include <zephyr/mgmt/mcumgr/grp/img_mgmt/img_mgmt_callbacks.h>
#include "voice.h"

static enum mgmt_cb_return image_event(uint32_t event, enum mgmt_cb_return previous,
 int32_t *rc, uint16_t *group, bool *abort_more, void *data, size_t size)
{
 ARG_UNUSED(previous); ARG_UNUSED(rc); ARG_UNUSED(group); ARG_UNUSED(abort_more);
 ARG_UNUSED(data); ARG_UNUSED(size);
 if (event == MGMT_EVT_OP_IMG_MGMT_DFU_STARTED) voice_ota_pause(true);
 if (event == MGMT_EVT_OP_IMG_MGMT_DFU_STOPPED || event == MGMT_EVT_OP_IMG_MGMT_DFU_PENDING)
  voice_ota_pause(false);
 return MGMT_CB_OK;
}
static struct mgmt_callback callback = {.callback=image_event,
 .event_id=MGMT_EVT_OP_IMG_MGMT_DFU_STARTED | MGMT_EVT_OP_IMG_MGMT_DFU_STOPPED | MGMT_EVT_OP_IMG_MGMT_DFU_PENDING};
static int register_ota_events(void)
{
 mgmt_callback_register(&callback);
 return 0;
}
/* Test images remain unconfirmed until the HostPC explicitly confirms them. */
SYS_INIT(register_ota_events, APPLICATION, 90);
```

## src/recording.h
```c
/* SPDX-License-Identifier: Apache-2.0 */
#ifndef WALLABY_RECORDING_H
#define WALLABY_RECORDING_H
#include "voice_frame.h"

#define RECORDING_MAX_FRAMES 500U /* 10 seconds at 16 kHz, 88 kB ADPCM. */
#define RECORDING_TAIL_FRAMES 40U
#define RECORDING_HOST_RENEW 1250U
#define RECORDING_ARM_MS 300000U
struct recording_transport { uint32_t session, generation, sequence; bool armed; };
static inline bool recording_arm(struct recording_transport *link,uint32_t session) {
 if(!session)return false;
 link->session=session;link->generation++;link->sequence=0;link->armed=true;return true;
}
static inline bool recording_stop(struct recording_transport *link,uint32_t session) {
 if(!session||session!=link->session)return false;
 link->armed=false;link->generation++;return true;
}
static inline bool recording_session_matches(const struct recording_transport *link,uint32_t session,uint32_t generation) {
 return link->armed&&session==link->session&&generation==link->generation;
}
static inline bool recording_start_budget(uint32_t sequence,uint32_t elapsed_ms) {
 return sequence<RECORDING_HOST_RENEW&&sequence+RECORDING_MAX_FRAMES+RECORDING_TAIL_FRAMES+11U<RECORDING_HOST_RENEW&&elapsed_ms<=RECORDING_ARM_MS-22000U;
}
static inline bool recording_send_budget(uint32_t sequence,uint32_t count,uint32_t elapsed_ms) {
 return sequence<RECORDING_HOST_RENEW&&count>0&&count<=RECORDING_MAX_FRAMES&&sequence+count+RECORDING_TAIL_FRAMES<RECORDING_HOST_RENEW&&
        elapsed_ms<=RECORDING_ARM_MS-(count+RECORDING_TAIL_FRAMES)*20U-1000U;
}
enum recording_state { RECORDING_IDLE, RECORDING_CAPTURE, RECORDING_READY, RECORDING_SEND };
struct recording {
 enum recording_state state;
 uint16_t count, cursor;
 uint8_t frames[RECORDING_MAX_FRAMES][VOICE_FRAME_SIZE];
};

/* These functions belong to the microphone thread, never a BLE callback. */
static inline void recording_cancel(struct recording *clip) {
 memset(clip,0,sizeof(*clip));
}
static inline void recording_start(struct recording *clip) {
 recording_cancel(clip);clip->state=RECORDING_CAPTURE;
}
static inline bool recording_append(struct recording *clip,const int16_t *samples,size_t count) {
 if(clip->state!=RECORDING_CAPTURE||clip->count>=RECORDING_MAX_FRAMES)return false;
 if(!voice_encode(samples,count,1,clip->count,clip->frames[clip->count],VOICE_FRAME_SIZE))return false;
 clip->count++;
 /* Reaching the limit stops recording but never releases audio for sending. */
 if(clip->count==RECORDING_MAX_FRAMES)clip->state=RECORDING_READY;
 return true;
}
static inline bool recording_submit(struct recording *clip) {
 if((clip->state!=RECORDING_CAPTURE&&clip->state!=RECORDING_READY)||!clip->count)return false;
 clip->state=RECORDING_SEND;clip->cursor=0;return true;
}
static inline bool recording_next(struct recording *clip,uint32_t session,uint32_t sequence,uint8_t *out,size_t capacity) {
 if(clip->state!=RECORDING_SEND||clip->cursor>=clip->count||!session||!out||capacity<VOICE_FRAME_SIZE)return false;
 memcpy(out,clip->frames[clip->cursor],VOICE_FRAME_SIZE);
 voice_put32(out+4,session);voice_put32(out+8,sequence);clip->cursor++;
 return true;
}
#endif
```

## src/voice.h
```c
/* SPDX-License-Identifier: Apache-2.0 */
#ifndef WALLABY_VOICE_H
#define WALLABY_VOICE_H
#include <zephyr/bluetooth/gatt.h>
#include "voice_frame.h"
#include "voice_status.h"
void voice_init(const struct bt_gatt_attr *audio_attr);
void voice_connected(struct bt_conn *conn);
void voice_disconnected(struct bt_conn *conn);
void voice_subscription(const struct bt_gatt_attr *attr, uint16_t value);
void voice_ota_pause(bool pause);
void voice_alarm_pause(bool pause);
bool voice_display_status(uint32_t *revision, enum voice_status *status,
                          char *text, size_t capacity);
ssize_t voice_control(struct bt_conn *conn, const struct bt_gatt_attr *attr,
                      const void *data, uint16_t length, uint16_t offset, uint8_t flags);
#endif
```

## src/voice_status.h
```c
/* SPDX-License-Identifier: Apache-2.0 */
#ifndef WALLABY_VOICE_STATUS_H
#define WALLABY_VOICE_STATUS_H
/* Local UI state only; the BLE audio protocol is unchanged. */
enum voice_status {
	VOICE_OFF,
	VOICE_ARMED,
	VOICE_RECORDING,
	VOICE_READY,
	VOICE_SENDING,
	VOICE_SENT,
	VOICE_ERROR,
};
#endif
```
